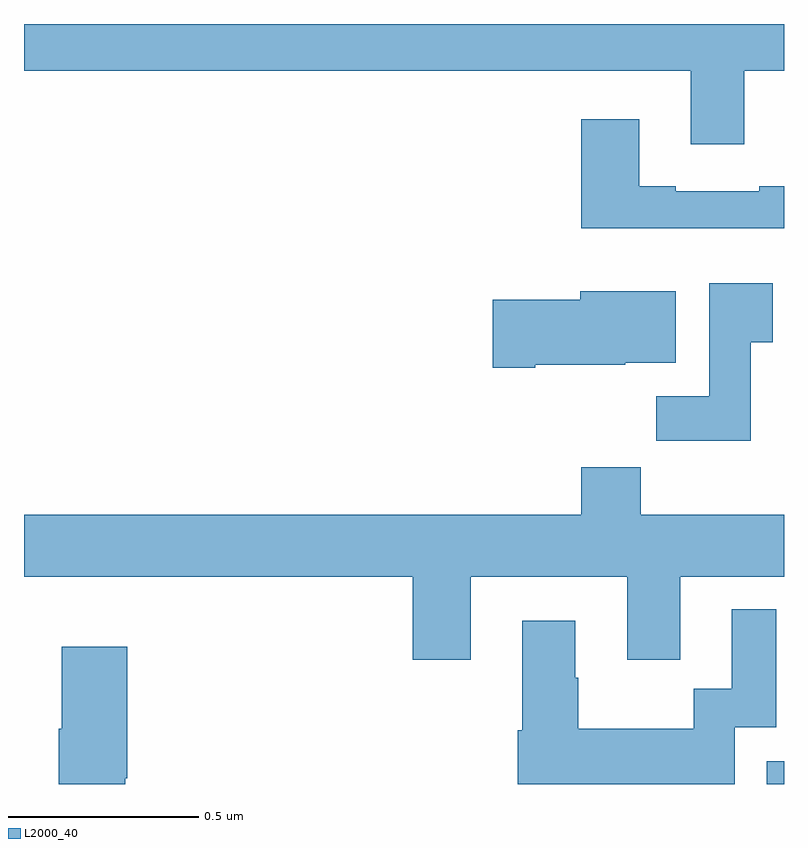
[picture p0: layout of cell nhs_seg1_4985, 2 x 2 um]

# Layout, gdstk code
import gdstk
lib = gdstk.Library(unit=1e-6, precision=1e-09)
def R(c, l, rs):  # rectangles x0, y0, x1, y1
    for r in rs: c.add(gdstk.rectangle(r[:2], r[2:], *l))
def P(c, l, *ps):  # polygons
    for p in ps: c.add(gdstk.Polygon(p, *l))
L2000_40 = (2000, 40)

nhs_seg1_4985 = lib.new_cell('nhs_seg1_4985')
R(nhs_seg1_4985, L2000_40, [(174.955,539.199,175,539.259)])
P(nhs_seg1_4985, L2000_40, [(174.895,541.076),(175,541.076),(175,541.199),(173,541.199),(173,541.076),(174.755,541.076),(174.755,540.882),(174.895,540.882)],
  [(175,540.772),(174.935,540.772),(174.935,540.759),(174.715,540.759),(174.715,540.772),(174.619,540.772),(174.619,540.949),(174.467,540.949),(174.467,540.662),(175,540.662)],
  [(174.913,540.361),(174.97,540.361),(174.97,540.517),(174.803,540.517),(174.803,540.22),(174.664,540.22),(174.664,540.102),(174.913,540.102)],
  [(174.346,540.302),(174.582,540.302),(174.582,540.308),(174.715,540.308),(174.715,540.496),(174.464,540.496),(174.464,540.473),(174.234,540.473),(174.234,540.295),(174.346,540.295)],
  [(174.175,539.744),(174.587,539.744),(174.587,539.526),(174.727,539.526),(174.727,539.744),(175,539.744),(175,539.908),(174.623,539.908),(174.623,540.032),(174.467,540.032),(174.467,539.908),(173,539.908),(173,539.744),(174.023,539.744),(174.023,539.526),(174.175,539.526)],
  [(174.87,539.349),(174.979,539.349),(174.979,539.659),(174.863,539.659),(174.863,539.45),(174.762,539.45),(174.762,539.344),(174.459,539.344),(174.459,539.478),(174.451,539.478),(174.451,539.629),(174.311,539.629),(174.311,539.34),(174.299,539.34),(174.299,539.199),(174.87,539.199)],
  [(173.267,539.214),(173.272,539.214),(173.272,539.56),(173.099,539.56),(173.099,539.345),(173.092,539.345),(173.092,539.199),(173.267,539.199)])

lib.write_gds('nhs_seg1_4985.gds')
